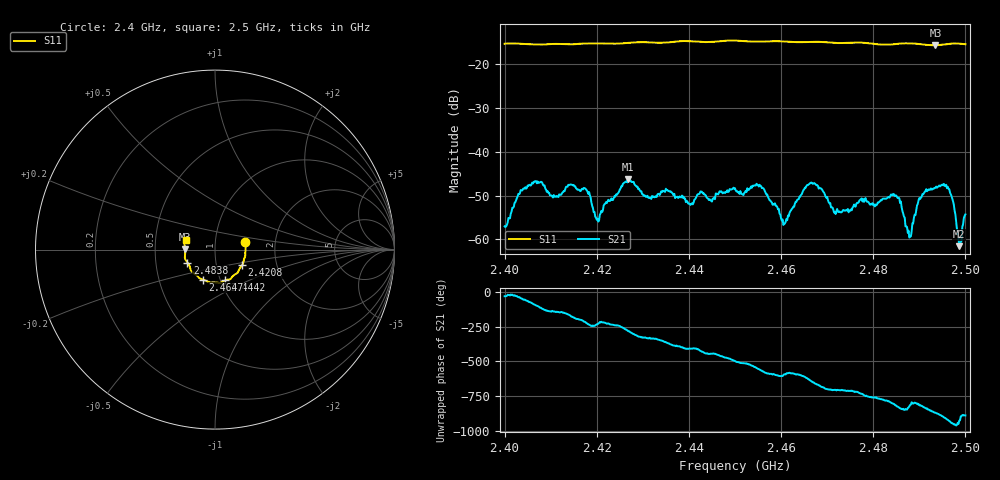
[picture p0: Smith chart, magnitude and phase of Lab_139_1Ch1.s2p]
# Hz S RI R 50
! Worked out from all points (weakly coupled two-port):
!   601 points, 2.4 GHz to 2.5 GHz, reference 50 ohm
!   highest |S21| = -46.29 dB at 2.4268 GHz (marker M1); lowest = -61.6 dB at 2.4987 GHz (marker M2)
!   lowest |S11| = -15.6 dB at 2.4935 GHz (marker M3), VSWR 1.40, Z = 35.8 + j0.212 ohm
!   |S11| at or under -10 dB: start of sweep to end of sweep
!   S12 and S22 are empty: the file has one direction only
!   S11 on the Smith chart (normalised r, x): 2.4 GHz: 1.40, +0.12; 2.4208 GHz: 1.33, -0.24; 2.4442 GHz: 1.05, -0.37; 2.4647 GHz: 0.83, -0.29; 2.4838 GHz: 0.73, -0.11; 2.5 GHz: 0.72, +0.08
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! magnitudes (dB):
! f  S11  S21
! 2.4 GHz  -15.3  -57.0
! 2.4063 GHz  -15.4  -46.8
! 2.4167 GHz  -15.2  -48.6
! 2.4208 GHz  -15.2  -54.1
! 2.4268 GHz  -15.1  -46.3
! 2.4333 GHz  -15.0  -49.6
! 2.4442 GHz  -14.9  -50.7
! 2.45 GHz  -14.5  -48.3
! 2.4558 GHz  -14.8  -48.3
! 2.4607 GHz  -14.7  -56.5
! 2.4647 GHz  -14.9  -49.2
! 2.4667 GHz  -14.8  -47.0
! 2.472 GHz  -15.1  -53.6
! 2.4833 GHz  -15.5  -50.3
! 2.4838 GHz  -15.4  -49.8
! 2.4855 GHz  -15.3  -50.4
! 2.4878 GHz  -15.2  -59.6
! 2.4903 GHz  -15.4  -50.5
! 2.4935 GHz  -15.6  -48.2
! 2.4967 GHz  -15.2  -49.3
! 2.4987 GHz  -15.2  -61.6
! 2.5 GHz  -15.4  -54.3
